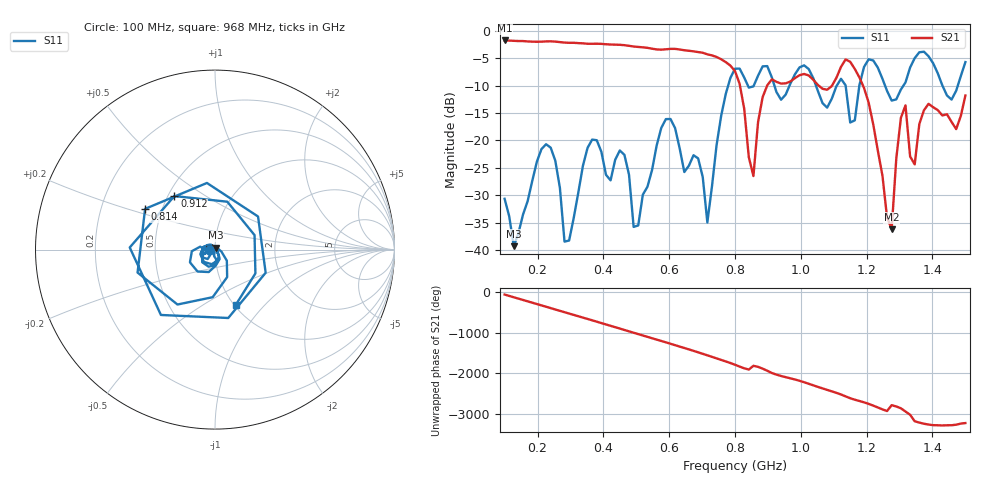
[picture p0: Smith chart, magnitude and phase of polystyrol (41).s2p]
! NanoVNA-App
! Date: 2025-09-26 09:42:12
! Start: 100MHz Stop: 1,5GHz Points: 101
! S-Parameter data: F S11 S21 S12 S22
# Hz S RI R 50
!  Frequency  S11_Real  S11_Imag  S21_Real  S21_Imag  S12_Real  S12_Imag  S22_Real  S22_Imag
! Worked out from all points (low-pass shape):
!   101 points, 100 MHz to 1.5 GHz, reference 50 ohm
!   highest |S21| = -1.79 dB at 100 MHz (marker M1); lowest = -36.2 dB at 1.276 GHz (marker M2)
!   |S21| within 3 dB of the highest: start of sweep to 743.5 MHz
!   lowest |S11| = -39.3 dB at 128 MHz (marker M3), VSWR 1.02, Z = 50.3 + j1.05 ohm
!   |S11| at or under -10 dB: start of sweep to 779.3 MHz; 1.046 GHz to 1.11 GHz (63.64 MHz wide, 5.91 % of centre); 1.256 GHz to 1.312 GHz (56.21 MHz wide, 4.38 % of centre) (the widest 3 of 7)
!   S12 and S22 are empty: the file has one direction only
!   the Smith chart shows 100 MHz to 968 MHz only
!   S11 on the Smith chart (normalised r, x): 100 MHz: 0.94, -0.01; 814 MHz: 0.40, +0.23; 912 MHz: 0.54, +0.37; 968 MHz: 1.02, -0.70
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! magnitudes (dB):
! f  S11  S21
! 100 MHz  -30.7  -1.8
! 128 MHz  -39.3  -1.9
! 212 MHz  -21.6  -2.0
! 254 MHz  -23.7  -2.0
! 282 MHz  -38.5  -2.2
! 338 MHz  -24.6  -2.3
! 464 MHz  -22.6  -2.6
! 506 MHz  -35.5  -3.0
! 576 MHz  -17.7  -3.5
! 688 MHz  -23.3  -3.9
! 716 MHz  -35.0  -4.3
! 800 MHz  -6.9  -7.4
! 814 MHz  -6.9  -9.7
! 856 MHz  -10.2  -26.5
! 912 MHz  -8.5  -8.9
! 968 MHz  -9.7  -9.3
! 1.038 GHz  -8.7  -9.0
! 1.178 GHz  -9.9  -8.5
! 1.276 GHz  -12.8  -36.2
! 1.318 GHz  -9.4  -13.6
! 1.346 GHz  -5.0  -24.4
! 1.5 GHz  -5.7  -11.8
